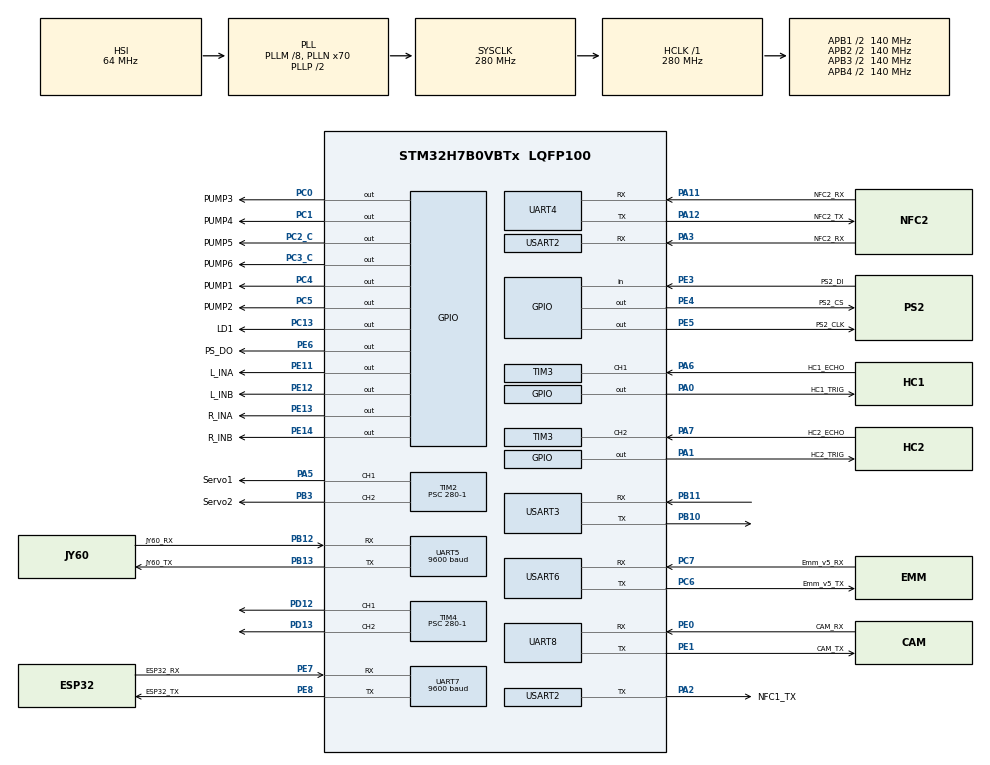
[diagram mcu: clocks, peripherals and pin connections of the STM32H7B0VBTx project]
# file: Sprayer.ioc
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CORTEX_M7.default_mode_Activation=1
Mcu.Family=STM32H7
Mcu.Name=STM32H7B0VBTx
Mcu.Package=LQFP100
NVIC.PriorityGroup=NVIC_PRIORITYGROUP_4
NVIC.TIM6_DAC_IRQn=true\:0\:0\:false\:false\:true\:true\:true\:true
NVIC.UART5_IRQn=true\:0\:0\:false\:false\:true\:true\:true\:true
NVIC.UART8_IRQn=true\:0\:0\:false\:false\:true\:true\:true\:true
NVIC.USART6_IRQn=true\:0\:0\:false\:false\:true\:true\:true\:true
PA0.GPIO_Label=HC1_TRIG
PA0.Signal=GPIO_Output
PA1.GPIO_Label=HC2_TRIG
PA1.Signal=GPIO_Output
PA11.GPIO_Label=NFC2_RX
PA11.Mode=Asynchronous
PA11.Signal=UART4_RX
PA12.GPIO_Label=NFC2_TX
PA12.Mode=Asynchronous
PA12.Signal=UART4_TX
PA2.GPIO_Label=NFC1_TX
PA2.Mode=Asynchronous
PA2.Signal=USART2_TX
PA3.GPIO_Label=NFC2_RX
PA3.Mode=Asynchronous
PA3.Signal=USART2_RX
PA5.GPIO_Label=Servo1
PA5.Signal=S_TIM2_CH1_ETR
PA6.GPIO_Label=HC1_ECHO
PA6.Signal=S_TIM3_CH1
PA7.GPIO_Label=HC2_ECHO
PA7.Signal=S_TIM3_CH2
PB10.Mode=Asynchronous
PB10.Signal=USART3_TX
PB11.Mode=Asynchronous
PB11.Signal=USART3_RX
PB12.GPIO_Label=JY60_RX
PB12.Mode=Asynchronous
PB12.Signal=UART5_RX
PB13.GPIO_Label=JY60_TX
PB13.Mode=Asynchronous
PB13.Signal=UART5_TX
PB3.GPIO_Label=Servo2
PB3.Signal=S_TIM2_CH2
PC0.GPIO_Label=PUMP3
PC0.Signal=GPIO_Output
PC1.GPIO_Label=PUMP4
PC1.Signal=GPIO_Output
PC13.GPIO_Label=LD1
PC13.PinState=GPIO_PIN_RESET
PC13.Signal=GPIO_Output
PC14-OSC32_IN.Mode=LSE-External-Oscillator
PC14-OSC32_IN.Signal=RCC_OSC32_IN
PC15-OSC32_OUT.Mode=LSE-External-Oscillator
PC15-OSC32_OUT.Signal=RCC_OSC32_OUT
PC2_C.GPIO_Label=PUMP5
PC2_C.Signal=GPIO_Output
PC3_C.GPIO_Label=PUMP6
PC3_C.Signal=GPIO_Output
PC4.GPIO_Label=PUMP1
PC4.Signal=GPIO_Output
PC5.GPIO_Label=PUMP2
PC5.Signal=GPIO_Output
PC6.GPIO_Label=Emm_v5_TX
PC6.Mode=Asynchronous
PC6.Signal=USART6_TX
PC7.GPIO_Label=Emm_v5_RX
PC7.Mode=Asynchronous
PC7.Signal=USART6_RX
PD12.GPIO_PuPd=GPIO_PULLDOWN
PD12.Signal=S_TIM4_CH1
PD13.GPIO_PuPd=GPIO_PULLDOWN
PD13.Signal=S_TIM4_CH2
PE0.GPIO_Label=CAM_RX
PE0.Mode=Asynchronous
PE0.Signal=UART8_RX
PE1.GPIO_Label=CAM_TX
PE1.Mode=Asynchronous
PE1.Signal=UART8_TX
PE11.GPIO_Label=L_INA
PE11.GPIO_PuPd=GPIO_PULLDOWN
PE11.Signal=GPIO_Output
PE12.GPIO_Label=L_INB
PE12.GPIO_PuPd=GPIO_PULLDOWN
PE12.Signal=GPIO_Output
PE13.GPIO_Label=R_INA
PE13.GPIO_PuPd=GPIO_PULLDOWN
PE13.Signal=GPIO_Output
PE14.GPIO_Label=R_INB
PE14.GPIO_PuPd=GPIO_PULLDOWN
PE14.Signal=GPIO_Output
PE3.GPIO_Label=PS2_DI
PE3.GPIO_PuPd=GPIO_PULLUP
PE3.Signal=GPIO_Input
PE4.GPIO_Label=PS2_CS
PE4.GPIO_PuPd=GPIO_PULLUP
PE4.Signal=GPIO_Output
PE5.GPIO_Label=PS2_CLK
PE5.GPIO_PuPd=GPIO_PULLUP
PE5.Signal=GPIO_Output
PE6.GPIO_Label=PS_DO
PE6.GPIO_PuPd=GPIO_PULLUP
PE6.Signal=GPIO_Output
PE7.GPIO_Label=ESP32_RX
PE7.Mode=Asynchronous
PE7.Signal=UART7_RX
PE8.GPIO_Label=ESP32_TX
PE8.Mode=Asynchronous
PE8.Signal=UART7_TX
PH0-OSC_IN.Mode=HSE-External-Oscillator
PH0-OSC_IN.Signal=RCC_OSC_IN
PH1-OSC_OUT.Mode=HSE-External-Oscillator
PH1-OSC_OUT.Signal=RCC_OSC_OUT
ProjectManager.HeapSize=0x200
ProjectManager.StackSize=0x400
ProjectManager.TargetToolchain=CMake
RCC.ADCFreq_Value=129000000
RCC.APB1Freq_Value=140000000
RCC.APB2Freq_Value=140000000
RCC.APB3Freq_Value=140000000
RCC.APB4Freq_Value=140000000
RCC.CDPPRE=RCC_APB3_DIV2
RCC.CDPPRE1=RCC_APB1_DIV2
RCC.CDPPRE2=RCC_APB2_DIV2
RCC.CortexFreq_Value=280000000
RCC.DIVM1=8
RCC.DIVN1=70
RCC.HCLKFreq_Value=280000000
RCC.SRDPPRE=RCC_APB4_DIV2
RCC.SYSCLKFreq_VALUE=280000000
RCC.SYSCLKSource=RCC_SYSCLKSOURCE_PLLCLK
RCC.USBFreq_Value=280000000
SH.S_TIM2_CH1_ETR.0=TIM2_CH1,PWM Generation1 CH1
SH.S_TIM2_CH2.0=TIM2_CH2,PWM Generation2 CH2
SH.S_TIM3_CH1.0=TIM3_CH1,Input_Capture1_from_TI1
SH.S_TIM3_CH2.0=TIM3_CH2,Input_Capture2_from_TI2
SH.S_TIM4_CH1.0=TIM4_CH1,PWM Generation1 CH1
SH.S_TIM4_CH2.0=TIM4_CH2,PWM Generation2 CH2
TIM2.AutoReloadPreload=TIM_AUTORELOAD_PRELOAD_ENABLE
TIM2.Channel-PWM\ Generation1\ CH1=TIM_CHANNEL_1
TIM2.Channel-PWM\ Generation2\ CH2=TIM_CHANNEL_2
TIM2.Period=20000-1
TIM2.Prescaler=280-1
TIM3.Channel-Input_Capture1_from_TI1=TIM_CHANNEL_1
TIM3.Channel-Input_Capture2_from_TI2=TIM_CHANNEL_2
TIM3.Prescaler=280-1
TIM4.AutoReloadPreload=TIM_AUTORELOAD_PRELOAD_ENABLE
TIM4.Channel-PWM\ Generation1\ CH1=TIM_CHANNEL_1
TIM4.Channel-PWM\ Generation2\ CH2=TIM_CHANNEL_2
TIM4.Period=1000
TIM4.Prescaler=280-1
TIM6.AutoReloadPreload=TIM_AUTORELOAD_PRELOAD_ENABLE
TIM6.Period=1000-1
TIM6.Prescaler=2800-1
UART5.BaudRate=9600
UART7.BaudRate=9600
USART2.VirtualMode-Asynchronous=VM_ASYNC
USART3.VirtualMode-Asynchronous=VM_ASYNC
USART6.VirtualMode=VM_ASYNC
VP_TIM2_VS_ClockSourceINT.Mode=Internal
VP_TIM4_VS_ClockSourceINT.Mode=Internal
VP_TIM6_VS_ClockSourceINT.Mode=Enable_Timer
board=custom

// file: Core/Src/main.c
/* USER CODE BEGIN Header */
/**
  ******************************************************************************
  * @file           : main.c
  * @brief          : Main program body
  ******************************************************************************
  * @attention
  *
  * Copyright (c) 2026 STMicroelectronics.
  * All rights reserved.
  *
  * This software is licensed under terms that can be found in the LICENSE file
  * in the root directory of this software component.
  * If no LICENSE file comes with this software, it is provided AS-IS.
  *
  ******************************************************************************
  */
/* USER CODE END Header */
#include "main.h"
#include "tim.h"
#include "usart.h"
#include "gpio.h"

/* USER CODE BEGIN Includes */
#include <stdio.h>
#include <string.h>
#include "Motor.h"
#include "pstwo.h"
#include "pn532.h"
#include "pn532_2.h"
#include "hcsr04.h"
#include "emm_v5.h"
#include "camera.h"
#include "jy61.h"
#include "spray_ctrl.h"
#include "nfc_handler.h"

extern int gWallSide;

/* USER CODE END Includes */

void SystemClock_Config(void);
static void MPU_Config(void);

int main(void)
{

  /* MPU Configuration--------------------------------------------------------*/
  MPU_Config();

  /* MCU Configuration--------------------------------------------------------*/

  /* Reset of all peripherals, Initializes the Flash interface and the Systick. */
  HAL_Init();

  /* Configure the system clock */
  SystemClock_Config();

  /* Initialize all configured peripherals */
  MX_GPIO_Init();
  MX_TIM4_Init();
  MX_TIM6_Init();
  MX_USART2_UART_Init();
  MX_TIM3_Init();
  MX_USART6_UART_Init();
  MX_UART4_Init();
  MX_USART3_UART_Init();
  MX_UART5_Init();
  MX_TIM2_Init();
  MX_UART7_Init();
  MX_UART8_Init();
  /* USER CODE BEGIN 2 */

  printf("=== Sprayer Boot ===\n");

  PS2_Init();
  PS2_SetInit();
  PS2_LX = PS2_LY = PS2_RX = PS2_RY = 128;
  PS2_KEY = 0;
  printf("  PS2 OK\n");
  HAL_Delay(300);

  HAL_GPIO_WritePin(L_INA_GPIO_Port, L_INA_Pin, GPIO_PIN_SET);
  HAL_GPIO_WritePin(L_INB_GPIO_Port, L_INB_Pin, GPIO_PIN_SET);
  HAL_GPIO_WritePin(R_INA_GPIO_Port, R_INA_Pin, GPIO_PIN_SET);
  HAL_GPIO_WritePin(R_INB_GPIO_Port, R_INB_Pin, GPIO_PIN_SET);
  Motor_SetPulse(MOTOR_LEFT,  0);
  Motor_SetPulse(MOTOR_RIGHT, 0);
  Motor_Stop(MOTOR_LEFT);
  Motor_Stop(MOTOR_RIGHT);
  HAL_TIM_Base_Start_IT(&htim6);
  printf("  Motor OK\n");

  PN532_Init();
  PN532_2_Init();
  HAL_NVIC_SetPriority(TIM3_IRQn, 0, 1);
  HCSR04_Init();
  JY61_Init();
  JY61_ZeroYaw();
  Emm_V5_InitRx();
  Emm_V5_En_Control(1, true, false);
  HAL_Delay(10);
  Emm_V5_Reset_CurPos_To_Zero(1);           /* X 归零 */
  HAL_Delay(10);
  Emm_V5_Vel_Control(1, 0, 0, 20, false);
  HAL_Delay(10);
  Emm_V5_En_Control(2, true, false);
  HAL_Delay(10);
  Emm_V5_Pos_Control(2, 0, 100, 20, 16000, false, false);
  HAL_Delay(10);
  Emm_V5_En_Control(3, true, false);
  HAL_Delay(10);
  Emm_V5_Pos_Control(3, 0, 100, 20, 17000, false, false);
  HAL_Delay(10);
  Emm_V5_Synchronous_motion(0);
  HAL_Delay(10);
  Camera_Init();
  Spray_Init();

  Motor_Start(MOTOR_LEFT);
  Motor_Start(MOTOR_RIGHT);
  static bool motorOn = false, isAuto = false;
  HAL_GPIO_WritePin(LD1_GPIO_Port, LD1_Pin, GPIO_PIN_SET);
  printf("  L2=AUTO R2=MANUAL START=ON/OFF\n");
  /* USER CODE END 2 */

  /* Infinite loop */
  while (1)
  {

    /* USER CODE BEGIN 3 */
    PS2_ModeHandler(&isAuto, &motorOn);
    LED_StatusUpdate(motorOn, isAuto);
    Motor_DriveUpdate(motorOn, isAuto);

    if (!isAuto) {
        if (Motor_NfcStopped()) Motor_NfcClear();
        HAL_Delay(10); continue;
    }

    if (Spray_IsBusy()) {
        Spray_Update();
        HAL_Delay(20); continue;
    }

    if (!motorOn) {
        static uint32_t lastYaw = 0;
        if (HAL_GetTick() - lastYaw > 300) {
            lastYaw = HAL_GetTick();
            printf("Yaw:%d.%d US:%d,%dcm\r\n",
                   (int)JY61_GetYaw(), (int)(JY61_GetYaw()*10)%10,
                   (int)Motor_GetUltraL(), (int)Motor_GetUltraR());
        }
    }

    if (motorOn && isAuto) {
        static uint32_t lp = 0;
        if (HAL_GetTick()-lp > 200) { lp=HAL_GetTick(); Motor_PrintVOFA(); }
    }

    PN532_Worker();
    PN532_2_Worker();

    static int nfcTrig = 0;
    static bool sprayed = false;
    static uint32_t nfcCoolUntil = 0;
    static int gBlockCount = 0;

    if (PN532_JustWritten())  nfcTrig = 1;
    if (PN532_2_JustWritten()) nfcTrig = 2;

    if (nfcTrig && motorOn && !Motor_NfcStopped()) {
        if (HAL_GetTick() < nfcCoolUntil) { nfcTrig = 0; }
        else { Motor_NfcTriggerStop(); gBlockCount++; }
    }

    if (Motor_NfcStopped()) {
        static uint32_t ss = 0;
        if (ss == 0) ss = HAL_GetTick();

        if (gNfcCardNum != 0 && !Spray_IsBusy() && !sprayed) {
            gBlockCount = gNfcCardNum;
            Spray_SetNfcSide(nfcTrig);
            Spray_Start(PEST_MED);
            sprayed = true;
        } else if (HAL_GetTick() - ss > 5000) {
            int fb = (gBlockCount > 0) ? gBlockCount : 1;
            gNfcCardNum = fb;
            { uint8_t f[]={0xAA,0xAA,(uint8_t)fb,0xFF,0xFF};
              HAL_UART_Transmit(&huart7, f, 5, 100);
              printf("       UART7: AA AA 0%d FF FF (timeout)\n", fb); }
            ss = 0;
            printf("[NFC] Timeout, force CARD=%d\n", fb);
        }
    } else { sprayed = false; }

    if (!Spray_IsBusy()) Spray_Update();

    if (!Spray_IsBusy() && Motor_NfcStopped() && sprayed) {
        static bool _done6 = false;
        if (gNfcCardNum == 6 && !_done6) {
            _done6 = true;
            { uint8_t f[]={0xAA,0xAA,0x07,0xFF,0xFF};
              HAL_UART_Transmit(&huart7, f, 5, 100);
              printf("       UART7: AA AA 07 FF FF (all done)\n"); }
            Motor_Stop(MOTOR_LEFT);
            Motor_Stop(MOTOR_RIGHT);
            Motor_NfcClear();
            gNfcCardNum = 0; nfcTrig = 0; sprayed = false;
            printf("[Spray] ALL 6 DONE, stop\n");
            while(1) { HAL_Delay(100); }
        }
        Motor_ToggleWall();
        Motor_NfcClear();
        gNfcCardNum = 0;
        nfcTrig = 0;
        sprayed = false;
        nfcCoolUntil = HAL_GetTick() + 3000;
    }

    HAL_Delay(20);
  }
  /* USER CODE END 3 */
}

void SystemClock_Config(void)
{
  RCC_OscInitTypeDef RCC_OscInitStruct = {0};
  RCC_ClkInitTypeDef RCC_ClkInitStruct = {0};

  /*AXI clock gating */
  RCC->CKGAENR = 0xFFFFFFFF;

  /** Supply configuration update enable
  */
  HAL_PWREx_ConfigSupply(PWR_LDO_SUPPLY);

  /** Configure the main internal regulator output voltage
  */
  __HAL_PWR_VOLTAGESCALING_CONFIG(PWR_REGULATOR_VOLTAGE_SCALE0);

  while(!__HAL_PWR_GET_FLAG(PWR_FLAG_VOSRDY)) {}

  /** Initializes the RCC Oscillators according to the specified parameters
  * in the RCC_OscInitTypeDef structure.
  */
  RCC_OscInitStruct.OscillatorType = RCC_OSCILLATORTYPE_HSI;
  RCC_OscInitStruct.HSIState = RCC_HSI_DIV1;
  RCC_OscInitStruct.HSICalibrationValue = 64;
  RCC_OscInitStruct.PLL.PLLState = RCC_PLL_ON;
  RCC_OscInitStruct.PLL.PLLSource = RCC_PLLSOURCE_HSI;
  RCC_OscInitStruct.PLL.PLLM = 8;
  RCC_OscInitStruct.PLL.PLLN = 70;
  RCC_OscInitStruct.PLL.PLLP = 2;
  RCC_OscInitStruct.PLL.PLLQ = 2;
  RCC_OscInitStruct.PLL.PLLR = 2;
  RCC_OscInitStruct.PLL.PLLRGE = RCC_PLL1VCIRANGE_3;
  RCC_OscInitStruct.PLL.PLLVCOSEL = RCC_PLL1VCOWIDE;
  RCC_OscInitStruct.PLL.PLLFRACN = 0;
  if (HAL_RCC_OscConfig(&RCC_OscInitStruct) != HAL_OK)
  {
    Error_Handler();
  }

  /** Initializes the CPU, AHB and APB buses clocks*/
  RCC_ClkInitStruct.ClockType = RCC_CLOCKTYPE_HCLK|RCC_CLOCKTYPE_SYSCLK
                              |RCC_CLOCKTYPE_PCLK1|RCC_CLOCKTYPE_PCLK2
                              |RCC_CLOCKTYPE_D3PCLK1|RCC_CLOCKTYPE_D1PCLK1;
  RCC_ClkInitStruct.SYSCLKSource = RCC_SYSCLKSOURCE_PLLCLK;
  RCC_ClkInitStruct.SYSCLKDivider = RCC_SYSCLK_DIV1;
  RCC_ClkInitStruct.AHBCLKDivider = RCC_HCLK_DIV1;
  RCC_ClkInitStruct.APB3CLKDivider = RCC_APB3_DIV2;
  RCC_ClkInitStruct.APB1CLKDivider = RCC_APB1_DIV2;
  RCC_ClkInitStruct.APB2CLKDivider = RCC_APB2_DIV2;
  RCC_ClkInitStruct.APB4CLKDivider = RCC_APB4_DIV2;

  if (HAL_RCC_ClockConfig(&RCC_ClkInitStruct, FLASH_LATENCY_6) != HAL_OK)
  {
    Error_Handler();
  }
}

 /* MPU Configuration */

void MPU_Config(void)
{
  MPU_Region_InitTypeDef MPU_InitStruct = {0};

  /* Disables the MPU */
  HAL_MPU_Disable();

  /** Initializes and configures the Region and the memory to be protected
  */
  MPU_InitStruct.Enable = MPU_REGION_ENABLE;
  MPU_InitStruct.Number = MPU_REGION_NUMBER0;
  MPU_InitStruct.BaseAddress = 0x0;
  MPU_InitStruct.Size = MPU_REGION_SIZE_4GB;
  MPU_InitStruct.SubRegionDisable = 0x87;
  MPU_InitStruct.TypeExtField = MPU_TEX_LEVEL0;
  MPU_InitStruct.AccessPermission = MPU_REGION_NO_ACCESS;
  MPU_InitStruct.DisableExec = MPU_INSTRUCTION_ACCESS_DISABLE;
  MPU_InitStruct.IsShareable = MPU_ACCESS_SHAREABLE;
  MPU_InitStruct.IsCacheable = MPU_ACCESS_NOT_CACHEABLE;
  MPU_InitStruct.IsBufferable = MPU_ACCESS_NOT_BUFFERABLE;

  HAL_MPU_ConfigRegion(&MPU_InitStruct);
  /* Enables the MPU */
  HAL_MPU_Enable(MPU_PRIVILEGED_DEFAULT);

}

void Error_Handler(void)
{
  __disable_irq();
  while (1)
  {
  }
}
